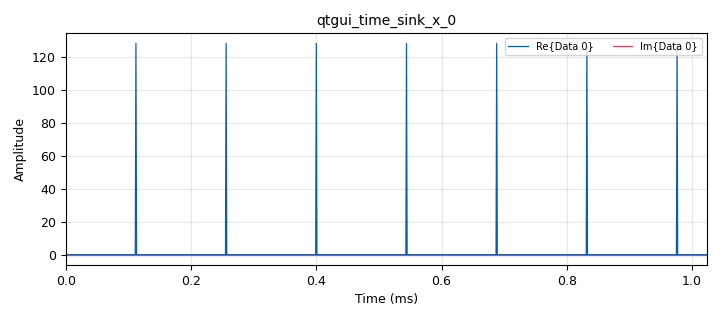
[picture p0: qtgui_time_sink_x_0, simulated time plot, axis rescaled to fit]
options:
  parameters:
    generate_options: qt_gui
    id: ofdm_test
    output_language: python
    title: Not titled yet
  states: {}

blocks:
- name: center_freq
  id: variable
  parameters:
    value: 2.4e9
  states: {}
- name: cyclic_prefix
  id: variable
  parameters:
    value: '16'
  states: {}
- name: fft_size
  id: variable
  parameters:
    value: '128'
  states: {}
- name: rx_gain
  id: variable_qtgui_range
  parameters:
    start: '0'
    step: '1'
    stop: '100'
    value: '20'
  states: {}
- name: samp_rate
  id: variable
  parameters:
    value: 1e6
  states: {}
- name: tx_attenuation
  id: variable_qtgui_range
  parameters:
    start: '10'
    step: '1'
    stop: '70'
    value: '10'
  states: {}
- name: epy_block_0
  id: epy_block
  parameters:
    _source_code: |
      import numpy as np
      from gnuradio import gr

      def generate_ofdm_symbol(fft_len, cp_len):
          """
          Generate a single OFDM symbol using a fixed coherent BPSK sequence.
          The subcarriers alternate between 1 and -1.
          """
          # Create a fixed coherent sequence: alternating 1 and -1 for BPSK.
          # Ensure the sequence is of length fft_len.
          coherent_seq = np.array([1 if i % 2 == 0 else -1 for i in range(fft_len)], dtype=np.complex64)
          
          # Compute the IFFT. (Scaling by fft_len here is one convention; adjust as needed.)
          ofdm_time = np.fft.ifft(coherent_seq) * fft_len
          
          # Add cyclic prefix by taking the last cp_len samples and prepending them.
          ofdm_symbol = np.concatenate((ofdm_time[-cp_len:], ofdm_time))
          
          # Return as complex64
          return ofdm_symbol.astype(np.complex64)

      class coherent_ofdm_source(gr.sync_block):
          """
          Coherent OFDM Source Block

          This block continuously outputs OFDM symbols generated using a fixed coherent (pilot) sequence.
          It outputs a repeating symbol (OFDM symbol with cyclic prefix) so that the transmitted waveform is fully known.
          
          Parameters:
            fft_len : FFT length (number of subcarriers)
            cp_len  : Length of cyclic prefix
          """
          def __init__(self, fft_len=64, cp_len=16):
              gr.sync_block.__init__(
                  self,
                  name="OFDM Source",
                  in_sig=None,
                  out_sig=[np.complex64]
              )
              self.fft_len = int(fft_len)
              self.cp_len = int(cp_len)
              # Generate a single OFDM symbol with a coherent (fixed) sequence.
              self.ofdm_symbol = generate_ofdm_symbol(self.fft_len, self.cp_len)
              self.symbol_len = len(self.ofdm_symbol)
              self.ptr = 0  # Pointer to track our position within the OFDM symbol.

          def work(self, input_items, output_items):
              out = output_items[0]
              noutput = len(out)
              
              # Fill the output buffer by repeatedly copying the OFDM symbol.
              for i in range(noutput):
                  out[i] = self.ofdm_symbol[self.ptr]
                  self.ptr = (self.ptr + 1) % self.symbol_len  # Wrap around after one full symbol.
              
              return noutput
    cp_len: cyclic_prefix
    fft_len: fft_size
  states: {}
- name: epy_block_1
  id: epy_block
  parameters:
    _source_code: |
      import numpy as np
      from gnuradio import gr
      import math

      class ofdm_demodulator(gr.sync_block):
          """
          OFDM Demodulator with Channel Estimation and Equalization

          This block processes one received OFDM symbol per work call. Each input item is a vector
          of length (fft_len + cp_len) (i.e. time-domain symbol with cyclic prefix). The block:
            1. Removes the cyclic prefix.
            2. Performs an FFT to convert the symbol to the frequency domain.
            3. Estimates the channel response on pilot subcarriers.
            4. Interpolates the channel estimate across all subcarriers.
            5. Equalizes the symbol by dividing by the estimated channel.

          Parameters:
            fft_len      : Number of FFT points (number of subcarriers)
            cp_len       : Length of the cyclic prefix
            pilot_indices: List of indices (0 to fft_len-1) where pilot symbols are located.
            pilot_values : Known pilot values (complex) corresponding to the pilot subcarriers.
                           If not provided, they are assumed to be 1+0j.
            data_indices : (Optional) List of indices corresponding to data subcarriers.
                           If not provided, the full symbol is output.
          """
          def __init__(self, fft_len=64, cp_len=16, pilot_indices=[11, 25, 39, 53], pilot_values=None, data_indices=None):
              gr.sync_block.__init__(
                  self,
                  name="ofdm_demodulator",
                  in_sig=[(np.complex64, fft_len+cp_len)],  # each input is a vector of length (fft_len+cp_len)
                  out_sig=[(np.complex64, fft_len)]           # output is a vector of length fft_len
              )
              self.fft_len = int(fft_len)
              self.cp_len = int(cp_len)
              self.pilot_indices = pilot_indices
              
              # If pilot_values are not provided, assume unit pilots.
              if pilot_values is None:
                  self.pilot_values = np.ones(len(pilot_indices), dtype=np.complex64)
              else:
                  self.pilot_values = np.array(pilot_values, dtype=np.complex64)
              
              # If data_indices are not provided, output the full equalized symbol.
              if data_indices is None:
                  self.data_indices = None
              else:
                  self.data_indices = data_indices

          def work(self, input_items, output_items):
              in0 = input_items[0]    # shape: (nitems, fft_len+cp_len)
              out = output_items[0]   # shape: (nitems, fft_len)
              nitems = len(in0)
              
              for idx in range(nitems):
                  # Remove cyclic prefix
                  symbol_with_cp = in0[idx]
                  time_symbol = symbol_with_cp[self.cp_len:]
                  
                  # FFT (normalize by fft_len to scale the output properly)
                  Y = np.fft.fft(time_symbol) / self.fft_len
                  
                  # Initialize channel estimate array
                  H_est = np.zeros(self.fft_len, dtype=np.complex64)
                  
                  # Estimate channel on pilot subcarriers using simple LS estimation
                  for i, p_idx in enumerate(self.pilot_indices):
                      if self.pilot_values[i] != 0:
                          H_est[p_idx] = Y[p_idx] / self.pilot_values[i]
                      else:
                          H_est[p_idx] = 1.0 + 0j  # fallback if pilot value is zero
                  
                  # Interpolate channel estimate over all subcarriers
                  pilot_indices_arr = np.array(self.pilot_indices)
                  pilot_mag = np.abs(H_est[pilot_indices_arr])
                  pilot_phase = np.angle(H_est[pilot_indices_arr])
                  
                  # Create an array of all subcarrier indices
                  all_indices = np.arange(self.fft_len)
                  
                  # Linear interpolation of magnitude and phase
                  interp_mag = np.interp(all_indices, pilot_indices_arr, pilot_mag)
                  interp_phase = np.interp(all_indices, pilot_indices_arr, pilot_phase)
                  H_interp = interp_mag * np.exp(1j * interp_phase)
                  
                  # Equalize the received frequency-domain symbol
                  equalized = np.zeros(self.fft_len, dtype=np.complex64)
                  for k in range(self.fft_len):
                      if np.abs(H_interp[k]) > 1e-6:
                          equalized[k] = Y[k] / H_interp[k]
                      else:
                          equalized[k] = 0.0 + 0.0j
                  
                  # If data_indices is specified, output only those subcarriers; otherwise, output the full symbol.
                  if self.data_indices is not None:
                      out[idx] = equalized[self.data_indices]
                  else:
                      out[idx] = equalized
              
              return nitems
    cp_len: cyclic_prefix
    data_indices: ''
    fft_len: fft_size
    pilot_indices: ''
    pilot_values: ''
  states: {}
- name: iio_pluto_sink_0
  id: iio_pluto_sink
  parameters:
    attenuation1: tx_attenuation
    bandwidth: '20000000'
    buffer_size: '32768'
    cyclic: 'False'
    filter_source: '''Auto'''
    frequency: '2400000000'
    samplerate: int(samp_rate)
    type: fc32
    uri: ip:192.168.2.1
  states: {}
- name: iio_pluto_source_0
  id: iio_pluto_source
  parameters:
    bandwidth: '20000000'
    bbdc: 'True'
    buffer_size: '32768'
    filter_source: '''Auto'''
    frequency: '2400000000'
    gain1: '''slow_attack'''
    manual_gain1: rx_gain
    quadrature: 'True'
    rfdc: 'True'
    samplerate: int(samp_rate)
    type: fc32
    uri: ip:192.168.2.1
  states: {}
- name: qtgui_time_sink_x_0
  id: qtgui_time_sink_x
  parameters:
    size: '1024'
    srate: samp_rate
    type: complex
  states: {}
- name: qtgui_time_sink_x_1
  id: qtgui_time_sink_x
  parameters:
    size: '1024'
    srate: samp_rate
    type: complex
  states: {state: disabled}
- name: uhd_usrp_sink_0
  id: uhd_usrp_sink
  parameters:
    ant0: '"TX/RX"'
    center_freq0: center_freq
    dev_addr: serial=3277296
    gain0: tx_gain
    samp_rate: samp_rate
    sync: sync
    type: fc32
  states: {state: disabled}
- name: uhd_usrp_source_0
  id: uhd_usrp_source
  parameters:
    ant0: '"RX2"'
    center_freq0: center_freq
    dc_offs_enb0: auto
    dev_addr: serial=3277296
    gain0: rx_gain
    iq_imbal_enb0: auto
    samp_rate: samp_rate
    sync: sync
    type: fc32
  states: {state: disabled}

connections:
- [epy_block_0, '0', iio_pluto_sink_0, '0']
- [epy_block_0, '0', qtgui_time_sink_x_0, '0']
- [epy_block_0, '0', uhd_usrp_sink_0, '0']
- [iio_pluto_source_0, '0', epy_block_1, '0']
- [uhd_usrp_source_0, '0', qtgui_time_sink_x_1, '0']

metadata:
  file_format: 1
  grc_version: 3.10.10.0
